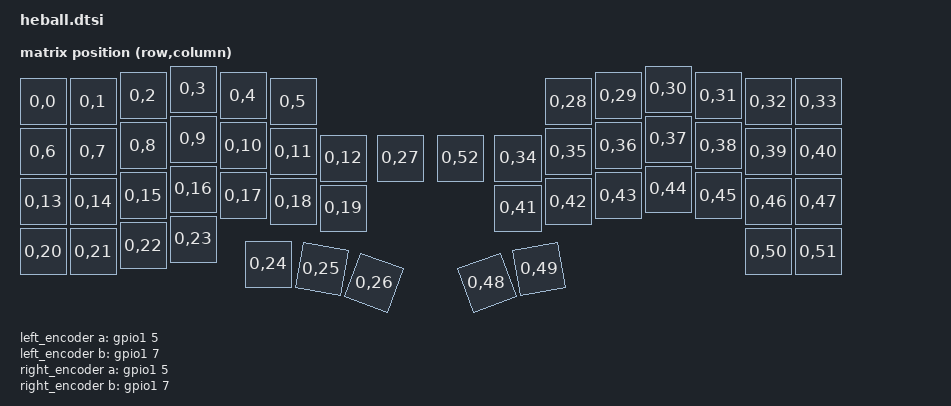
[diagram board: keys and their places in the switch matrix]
#include <dt-bindings/zmk/matrix_transform.h>
#include <physical_layouts.dtsi>

/ {
    chosen {
        zmk,kscan = &kscan_composite;
        zmk,battery = &non_lipo_battery;
        zmk,physical-layout = &physical_layout0;
    };

    physical_layout0: physical_layout_0 {
        compatible = "zmk,physical-layout";
        display-name = "default_layout";

        kscan = <&kscan_composite>;
        transform = <&default_transform>;

        keys  //                          w   h     x     y      rot    rx     ry
            = <&key_physical_attrs 100 100     0    25       0     0     0>   /* 0  ESC      */
            , <&key_physical_attrs 100 100   100    25       0     0     0>   /* 1  Q        */
            , <&key_physical_attrs 100 100   200    13       0     0     0>   /* 2  W        */
            , <&key_physical_attrs 100 100   300     0       0     0     0>   /* 3  E        */
            , <&key_physical_attrs 100 100   400    13       0     0     0>   /* 4  R        */
            , <&key_physical_attrs 100 100   500    25       0     0     0>   /* 5  T        */
            , <&key_physical_attrs 100 100     0   125       0     0     0>   /* 6  LCTL     */
            , <&key_physical_attrs 100 100   100   125       0     0     0>   /* 7  A        */
            , <&key_physical_attrs 100 100   200   113       0     0     0>   /* 8  S        */
            , <&key_physical_attrs 100 100   300   100       0     0     0>   /* 9  D        */
            , <&key_physical_attrs 100 100   400   113       0     0     0>   /* 10 F        */
            , <&key_physical_attrs 100 100   500   125       0     0     0>   /* 11 G        */
            , <&key_physical_attrs 100 100   600   138       0     0     0>   /* 12 SEMI     */
            , <&key_physical_attrs 100 100     0   225       0     0     0>   /* 13 LSFT     */
            , <&key_physical_attrs 100 100   100   225       0     0     0>   /* 14 Z        */
            , <&key_physical_attrs 100 100   200   213       0     0     0>   /* 15 X        */
            , <&key_physical_attrs 100 100   300   200       0     0     0>   /* 16 C        */
            , <&key_physical_attrs 100 100   400   213       0     0     0>   /* 17 V        */
            , <&key_physical_attrs 100 100   500   225       0     0     0>   /* 18 B        */
            , <&key_physical_attrs 100 100   600   238       0     0     0>   /* 19 LBKT     */
            , <&key_physical_attrs 100 100     0   325       0     0     0>   /* 20 CAPS     */
            , <&key_physical_attrs 100 100   100   325       0     0     0>   /* 21 LGUI     */
            , <&key_physical_attrs 100 100   200   313       0     0     0>   /* 22 LALT     */
            , <&key_physical_attrs 100 100   300   300       0     0     0>   /* 23 BSPC     */
            , <&key_physical_attrs 100 100   450   350       0     0     0>   /* 24 DEL      */
            , <&key_physical_attrs 100 100   550   350    1000   550   450>   /* 25 SPC      */
            , <&key_physical_attrs 100 100   648   367    2000   648   467>   /* 26 LANG2    */
            , <&key_physical_attrs 100 100   715   138       0     0     0>   /* 27 SW_L enc */
            , <&key_physical_attrs 100 100  1050    25       0     0     0>   /* 28 Y        */
            , <&key_physical_attrs 100 100  1150    13       0     0     0>   /* 29 U        */
            , <&key_physical_attrs 100 100  1250     0       0     0     0>   /* 30 I        */
            , <&key_physical_attrs 100 100  1350    13       0     0     0>   /* 31 O        */
            , <&key_physical_attrs 100 100  1450    25       0     0     0>   /* 32 P        */
            , <&key_physical_attrs 100 100  1550    25       0     0     0>   /* 33 BSPC     */
            , <&key_physical_attrs 100 100   950   138       0     0     0>   /* 34 SQT      */
            , <&key_physical_attrs 100 100  1050   125       0     0     0>   /* 35 H        */
            , <&key_physical_attrs 100 100  1150   113       0     0     0>   /* 36 J        */
            , <&key_physical_attrs 100 100  1250   100       0     0     0>   /* 37 K        */
            , <&key_physical_attrs 100 100  1350   113       0     0     0>   /* 38 L        */
            , <&key_physical_attrs 100 100  1450   125       0     0     0>   /* 39 MINS     */
            , <&key_physical_attrs 100 100  1550   125       0     0     0>   /* 40 EQL      */
            , <&key_physical_attrs 100 100   950   238       0     0     0>   /* 41 RBKT     */
            , <&key_physical_attrs 100 100  1050   225       0     0     0>   /* 42 N        */
            , <&key_physical_attrs 100 100  1150   213       0     0     0>   /* 43 M        */
            , <&key_physical_attrs 100 100  1250   200       0     0     0>   /* 44 COMMA    */
            , <&key_physical_attrs 100 100  1350   213       0     0     0>   /* 45 DOT      */
            , <&key_physical_attrs 100 100  1450   225       0     0     0>   /* 46 SLASH    */
            , <&key_physical_attrs 100 100  1550   225       0     0     0>   /* 47 RSFT     */
            , <&key_physical_attrs 100 100   902   367   34000  1002   467>   /* 48 LANG1    */
            , <&key_physical_attrs 100 100  1000   350   35000  1100   450>   /* 49 ENTER    */
            , <&key_physical_attrs 100 100  1450   325       0     0     0>   /* 50 SEMI     */
            , <&key_physical_attrs 100 100  1550   325       0     0     0>   /* 51 SQT      */
            , <&key_physical_attrs 100 100   835   138       0     0     0>   /* 52 SW_R enc */
            ;
    };

    default_transform: keymap_transform_0 {
        compatible = "zmk,matrix-transform";
        columns = <53>;
        rows = <1>;
        /*
         * 左手 (col 0-27): HE1-HE27 + SW(エンコーダープッシュ)
         * 右手 (col 28-52): HE28-HE51 + SW_R(エンコーダープッシュ)
         *
         * 左手:
         *  0- 5: HE1 -HE6   (行1)
         *  6-12: HE7 -HE13  (行2)
         * 13-19: HE14-HE20  (行3)
         * 20-26: HE21-HE27  (行4)
         *    27: SW          (エンコーダープッシュボタン)
         *
         * 右手:
         * 28-33: HE28-HE33  (行1)
         * 34-40: HE34-HE40  (行2)
         * 41-47: HE41-HE47  (行3)
         * 48-51: HE48-HE51  (行4)
         *    52: SW_R        (エンコーダープッシュボタン)
         */
        map = <
            RC(0,0)  RC(0,1)  RC(0,2)  RC(0,3)  RC(0,4)  RC(0,5)
            RC(0,6)  RC(0,7)  RC(0,8)  RC(0,9)  RC(0,10) RC(0,11) RC(0,12)
            RC(0,13) RC(0,14) RC(0,15) RC(0,16) RC(0,17) RC(0,18) RC(0,19)
            RC(0,20) RC(0,21) RC(0,22) RC(0,23) RC(0,24) RC(0,25) RC(0,26)
            RC(0,27)
            RC(0,28) RC(0,29) RC(0,30) RC(0,31) RC(0,32) RC(0,33)
            RC(0,34) RC(0,35) RC(0,36) RC(0,37) RC(0,38) RC(0,39) RC(0,40)
            RC(0,41) RC(0,42) RC(0,43) RC(0,44) RC(0,45) RC(0,46) RC(0,47)
            RC(0,48) RC(0,49) RC(0,50) RC(0,51)
            RC(0,52)
        >;
    };

    /* Disable default battery monitoring */
    vbatt: vbatt {
        status = "disabled";
    };

    /* Non-LiPo (Ni-MH) battery monitoring via ADC channel 0 */
    non_lipo_battery: non_lipo_battery {
        compatible = "zmk,non-lipo-battery";
        io-channels = <&adc 0>;
    };

    /* Left EC11 Rotary Encoder: A=P1.05, B=P1.07 */
    left_encoder: encoder_left {
        compatible = "alps,ec11";
        a-gpios = <&gpio1 5 (GPIO_ACTIVE_HIGH | GPIO_PULL_UP)>;
        b-gpios = <&gpio1 7 (GPIO_ACTIVE_HIGH | GPIO_PULL_UP)>;
        steps = <80>;
        status = "disabled";
    };

    /* Right EC11 Rotary Encoder: A=P1.05, B=P1.07 (same pins, different MCU) */
    right_encoder: encoder_right {
        compatible = "alps,ec11";
        a-gpios = <&gpio1 5 (GPIO_ACTIVE_HIGH | GPIO_PULL_UP)>;
        b-gpios = <&gpio1 7 (GPIO_ACTIVE_HIGH | GPIO_PULL_UP)>;
        steps = <80>;
        status = "disabled";
    };

    sensors: sensors {
        compatible = "zmk,keymap-sensors";
        sensors = <&left_encoder &right_encoder>;
        triggers-per-rotation = <20>;
    };
};
